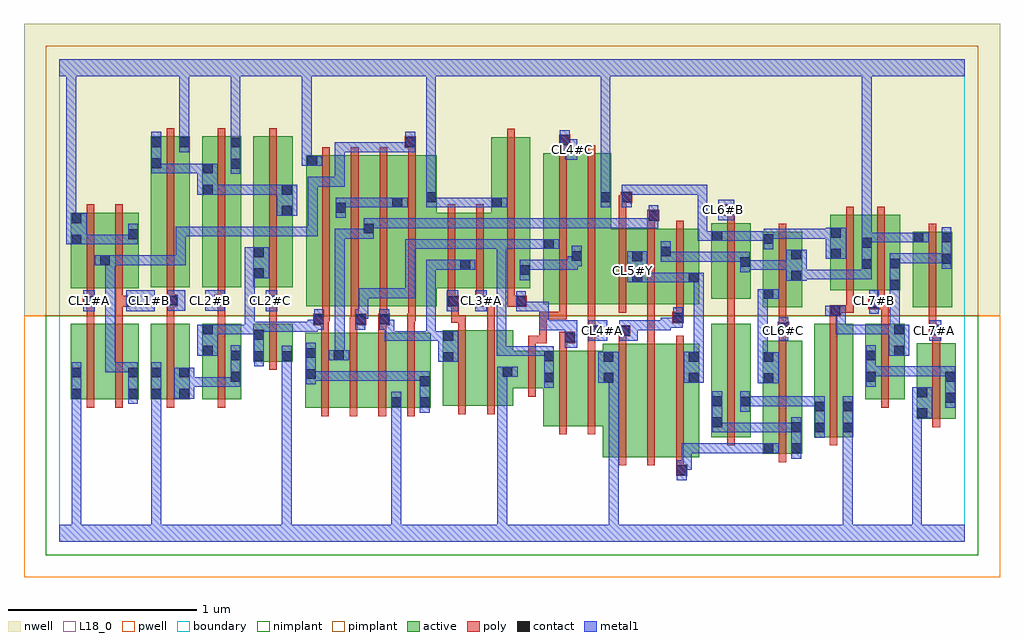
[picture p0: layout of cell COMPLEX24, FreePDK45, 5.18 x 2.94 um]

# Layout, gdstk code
import gdstk
lib = gdstk.Library(unit=1e-6, precision=1e-09)
def R(c, l, rs):  # rectangles x0, y0, x1, y1
    for r in rs: c.add(gdstk.rectangle(r[:2], r[2:], *l))
def A(c, l, x, y, w, h, nx, ny, dx, dy):  # array of equal rectangles
    R(c, l, [(x+i*dx, y+j*dy, x+i*dx+w, y+j*dy+h) for i in range(nx) for j in range(ny)])
active = (1, 0)
pwell = (2, 0)
nwell = (3, 0)
nimplant = (4, 0)
pimplant = (5, 0)
poly = (9, 0)
contact = (10, 0)
metal1 = (11, 0)
L18_0 = (18, 0)
boundary = (235, 0)

complex24 = lib.new_cell('COMPLEX24')
A(complex24, active, 0.484, 1.35, 0.208, 0.8, 3, 1, 0.272, 0)
R(complex24, active, [(2.882,0.45,3.062,1.05), (2.882,0.45,2.942,1.014), (3.062,0.45,3.214,1.05), (3.214,0.45,3.394,1.05), (3.73,0.466,3.79,1.066), (3.73,0.466,3.938,1.066), (3.878,0.466,3.938,1.066), (3.334,0.556,3.394,1.05), (3.458,0.556,3.518,1.156), (3.458,0.556,3.666,1.156), (3.606,0.556,3.666,1.156), (4.002,0.556,4.062,1.156), (4.002,0.556,4.21,1.156), (4.15,0.556,4.21,1.156), (2.566,0.614,2.626,1.014), (2.566,0.614,2.746,1.014), (2.746,0.614,2.942,1.014), (4.546,0.652,4.754,1.052), (4.546,0.652,4.606,0.824), (4.694,0.652,4.754,1.052), (1.304,0.71,1.364,1.11), (1.304,0.71,1.512,1.11), (1.452,0.71,1.636,1.11), (1.636,0.71,1.816,1.11), (1.756,0.71,1.968,1.11), (1.756,0.71,1.816,0.816), (1.908,0.71,1.968,1.11), (2.032,0.722,2.092,1.122), (2.032,0.722,2.212,1.122), (2.212,0.722,2.406,1.122), (0.06,0.756,0.12,1.156), (0.06,0.756,0.24,1.156), (0.24,0.756,0.42,1.156), (0.36,0.756,0.42,1.156), (0.484,0.756,0.544,1.156), (0.484,0.756,0.692,1.156), (0.632,0.756,0.692,1.156), (0.756,0.756,0.816,1.156), (0.756,0.756,0.964,1.156), (0.904,0.756,0.964,1.156), (1.452,0.756,1.512,1.02), (2.346,0.756,2.406,1.014), (4.274,0.756,4.334,1.156), (4.274,0.756,4.482,1.156), (4.422,0.756,4.482,1.156), (2.346,0.814,2.626,1.014), (1.028,0.956,1.088,1.156), (1.028,0.956,1.236,1.156), (1.176,0.956,1.236,1.156), (3.73,1.244,3.79,1.644), (3.73,1.244,3.938,1.644), (3.878,1.244,3.938,1.644), (4.526,1.244,4.586,1.644), (4.526,1.244,4.734,1.644), (4.674,1.244,4.734,1.644), (1.31,1.25,1.522,2.05), (1.31,1.25,1.37,2.05), (1.462,1.25,1.67,2.05), (1.61,1.25,1.822,2.05), (1.762,1.25,2,2.05), (2.566,1.26,2.626,2.044), (2.566,1.26,2.774,2.06), (2.714,1.26,2.926,2.06), (2.714,1.26,2.774,2.044), (2.866,1.26,3.094,1.66), (3.034,1.26,3.094,1.66), (3.034,1.26,3.246,1.66), (3.186,1.26,3.394,1.66), (3.186,1.26,3.246,1.644), (3.334,1.26,3.394,1.644), (3.458,1.29,3.666,1.69), (3.606,1.29,3.666,1.644), (4.088,1.334,4.148,1.734), (4.088,1.334,4.312,1.734), (4.252,1.334,4.46,1.734), (4.252,1.334,4.312,1.644), (4.4,1.334,4.46,1.644), (0.06,1.346,0.12,1.746), (0.06,1.346,0.272,1.746), (0.212,1.346,0.42,1.746), (0.36,1.346,0.42,1.746), (1.94,1.346,2.182,1.746), (2.122,1.346,2.35,1.746), (2.122,1.346,2.182,1.644), (2.29,1.346,2.498,2.146), (2.438,1.346,2.498,2.044), (0.484,1.35,0.544,2.15), (0.632,1.35,0.692,2.15), (0.756,1.35,0.816,2.044), (1.028,1.35,1.088,2.044), (1.176,1.35,1.236,2.044), (2.866,1.372,2.926,2.06), (3.458,1.452,3.518,1.69), (0.212,1.464,0.272,1.644), (1.94,1.472,2,1.858), (0.904,1.556,0.964,2.15), (2.29,1.556,2.35,1.83), (1.61,1.632,1.67,2.044), (1.462,1.686,1.522,2.044), (1.762,1.686,1.822,2.044)])
R(complex24, pwell, [(-0.188,-0.188,4.988,1.2)])
R(complex24, nwell, [(-0.188,1.2,4.988,2.748)])
R(complex24, nimplant, [(-0.072,-0.072,4.872,1.2)])
R(complex24, pimplant, [(-0.072,1.2,4.872,2.632)])
A(complex24, poly, 2.966, 0.406, 0.04, 0.688, 3, 1, 0.152, 0)
A(complex24, poly, 1.388, 0.666, 0.04, 0.488, 4, 1, 0.152, 0)
A(complex24, poly, 0.296, 0.712, 0.04, 0.488, 3, 1, 0.272, 0)
A(complex24, poly, 1.388, 1.114, 0.04, 0.076, 3, 1, 0.152, 0)
A(complex24, poly, 0.568, 1.16, 0.04, 0.13, 3, 1, 0.272, 0)
A(complex24, poly, 1.394, 1.17, 0.04, 0.076, 4, 1, 0.152, 0)
A(complex24, poly, 1.394, 1.206, 0.04, 0.888, 4, 1, 0.152, 0)
A(complex24, poly, 2.966, 1.216, 0.04, 0.488, 3, 1, 0.152, 0)
A(complex24, poly, 0.568, 1.27, 0.04, 0.076, 3, 1, 0.272, 0)
A(complex24, poly, 0.568, 1.306, 0.04, 0.888, 3, 1, 0.272, 0)
R(complex24, poly, [(3.27,0.35,3.33,0.41), (3.27,0.37,3.31,0.446), (3.814,0.422,3.854,1.11), (3.542,0.512,3.582,1.2), (4.086,0.512,4.126,1.2), (2.65,0.57,2.69,1.058), (2.802,0.57,2.842,1.058), (4.63,0.608,4.67,1.096), (2.116,0.678,2.156,1.166), (2.268,0.678,2.308,1.166), (0.144,0.712,0.184,1.2), (4.358,0.712,4.398,1.2), (2.486,0.77,2.526,1.058), (1.112,0.912,1.152,1.2), (2.486,1.018,2.526,1.094), (2.65,1.018,2.69,1.094), (2.802,1.018,2.842,1.13), (2.486,1.054,2.526,1.094), (2.486,1.054,2.584,1.094), (2.544,1.054,2.584,1.094), (2.544,1.054,2.584,1.22), (2.65,1.054,2.736,1.114), (2.966,1.054,3.006,1.13), (3.118,1.054,3.158,1.13), (4.63,1.056,4.67,1.132), (3.814,1.07,3.854,1.146), (2.802,1.09,2.862,1.15), (2.966,1.09,3.026,1.15), (3.118,1.09,3.158,1.13), (3.118,1.09,3.158,1.13), (3.118,1.09,3.158,1.13), (3.118,1.09,3.158,1.256), (4.61,1.092,4.67,1.152), (4.63,1.092,4.67,1.132), (4.63,1.092,4.67,1.132), (3.81,1.106,3.87,1.166), (2.802,1.11,2.842,1.15), (2.802,1.11,2.842,1.15), (2.802,1.11,2.842,1.256), (4.61,1.112,4.65,1.24), (1.844,1.114,1.884,1.21), (2.116,1.126,2.156,1.202), (2.268,1.126,2.308,1.286), (3.814,1.126,3.854,1.166), (3.814,1.126,3.854,1.166), (3.814,1.126,3.854,1.24), (1.346,1.15,1.428,1.21), (1.54,1.15,1.586,1.19), (1.546,1.15,1.586,1.19), (1.546,1.15,1.626,1.21), (1.692,1.15,1.752,1.21), (0.144,1.16,0.184,1.286), (0.296,1.16,0.336,1.286), (3.25,1.16,3.31,1.22), (3.542,1.16,3.582,1.236), (4.086,1.16,4.126,1.236), (4.358,1.16,4.398,1.274), (2.078,1.162,2.156,1.202), (2.078,1.162,2.118,1.286), (1.388,1.17,1.428,1.21), (1.388,1.17,1.434,1.21), (1.698,1.17,1.738,1.21), (1.698,1.17,1.738,1.21), (1.844,1.17,1.884,1.21), (1.844,1.17,1.884,1.21), (1.844,1.17,1.89,1.21), (2.544,1.18,2.584,1.22), (2.544,1.18,2.69,1.22), (2.65,1.18,2.69,1.22), (2.65,1.18,2.69,1.22), (2.65,1.18,2.69,1.22), (2.65,1.18,2.69,1.256), (3.27,1.18,3.31,1.256), (3.542,1.196,3.582,1.236), (3.542,1.196,3.582,1.236), (3.542,1.196,3.582,1.236), (3.542,1.196,3.582,1.286), (4.086,1.196,4.146,1.256), (3.814,1.2,3.854,1.688), (4.61,1.2,4.65,1.688), (2.65,1.216,2.69,2.104), (2.802,1.216,2.842,2.104), (4.106,1.216,4.146,1.256), (4.106,1.216,4.212,1.256), (4.172,1.216,4.212,1.33), (4.29,1.234,4.376,1.294), (4.336,1.234,4.376,1.274), (4.336,1.234,4.398,1.274), (0.124,1.246,0.184,1.306), (0.296,1.246,0.41,1.306), (2.058,1.246,2.118,1.306), (2.21,1.246,2.27,1.306), (2.23,1.246,2.27,1.286), (2.23,1.246,2.308,1.286), (2.374,1.246,2.478,1.306), (3.542,1.246,3.582,1.734), (0.568,1.25,0.628,1.31), (0.82,1.25,0.88,1.31), (0.84,1.25,0.88,1.29), (0.84,1.25,0.88,1.29), (1.092,1.25,1.152,1.31), (1.112,1.25,1.152,1.29), (1.112,1.25,1.152,1.29), (4.336,1.254,4.376,1.33), (0.144,1.266,0.184,1.306), (0.144,1.266,0.184,1.306), (0.144,1.266,0.184,1.342), (0.296,1.266,0.336,1.306), (0.296,1.266,0.336,1.306), (0.296,1.266,0.336,1.342), (2.058,1.266,2.098,1.342), (2.21,1.266,2.25,1.342), (2.374,1.266,2.414,1.342), (0.568,1.27,0.608,1.31), (0.568,1.27,0.608,1.31), (4.172,1.29,4.212,1.778), (4.336,1.29,4.376,1.778), (0.144,1.302,0.184,1.79), (0.296,1.302,0.336,1.79), (2.058,1.302,2.098,1.79), (2.21,1.302,2.25,1.79), (2.374,1.302,2.414,2.19), (2.966,1.664,3.006,1.838), (3.118,1.664,3.158,1.74), (3.542,1.694,3.582,1.77), (3.118,1.7,3.18,1.76), (3.522,1.73,3.582,1.79), (2.966,1.798,3.018,1.838), (2.978,1.798,3.018,1.838), (2.978,1.798,3.038,1.858), (1.85,2.054,1.89,2.13), (2.65,2.064,2.69,2.14), (1.83,2.09,1.89,2.15), (2.65,2.1,2.71,2.16)])
R(complex24, contact, [(3.274,0.354,3.326,0.406), (3.734,0.47,3.786,0.522), (3.882,0.47,3.934,0.522), (4.006,0.58,4.058,0.632), (4.154,0.58,4.206,0.632), (3.882,0.582,3.934,0.634), (3.462,0.608,3.514,0.66), (4.55,0.656,4.602,0.708), (4.006,0.692,4.058,0.744), (4.154,0.692,4.206,0.744), (1.912,0.714,1.964,0.766), (1.76,0.716,1.812,0.768), (3.61,0.718,3.662,0.77), (3.462,0.72,3.514,0.772), (4.698,0.738,4.75,0.79), (0.064,0.76,0.116,0.812), (0.364,0.76,0.416,0.812), (0.488,0.76,0.54,0.812), (0.636,0.76,0.688,0.812), (4.55,0.768,4.602,0.82), (1.912,0.826,1.964,0.878), (3.734,0.842,3.786,0.894), (2.886,0.844,2.938,0.896), (3.338,0.844,3.39,0.896), (2.57,0.846,2.622,0.898), (0.908,0.85,0.96,0.902), (4.278,0.85,4.33,0.902), (4.698,0.85,4.75,0.902), (1.308,0.864,1.36,0.916), (0.064,0.872,0.116,0.924), (0.364,0.872,0.416,0.924), (0.488,0.872,0.54,0.924), (0.636,0.872,0.688,0.924), (2.35,0.876,2.402,0.928), (2.036,0.954,2.088,1.006), (3.734,0.954,3.786,1.006), (2.886,0.956,2.938,1.008), (3.338,0.956,3.39,1.008), (2.57,0.958,2.622,1.01), (1.032,0.96,1.084,1.012), (1.18,0.96,1.232,1.012), (0.908,0.962,0.96,1.014), (4.278,0.962,4.33,1.014), (1.456,0.964,1.508,1.016), (1.308,0.976,1.36,1.028), (0.76,0.988,0.812,1.04), (4.426,0.988,4.478,1.04), (2.68,1.058,2.732,1.11), (2.036,1.066,2.088,1.118), (1.032,1.072,1.084,1.124), (2.806,1.094,2.858,1.146), (2.97,1.094,3.022,1.146), (4.614,1.096,4.666,1.148), (0.76,1.1,0.812,1.152), (4.426,1.1,4.478,1.152), (3.814,1.11,3.866,1.162), (1.35,1.154,1.402,1.206), (1.57,1.154,1.622,1.206), (1.696,1.154,1.748,1.206), (3.254,1.164,3.306,1.216), (4.09,1.2,4.142,1.252), (4.294,1.238,4.346,1.29), (0.128,1.25,0.18,1.302), (0.354,1.25,0.406,1.302), (2.062,1.25,2.114,1.302), (2.214,1.25,2.266,1.302), (2.422,1.25,2.474,1.302), (0.572,1.254,0.624,1.306), (0.824,1.254,0.876,1.306), (1.096,1.254,1.148,1.306), (3.734,1.288,3.786,1.34), (4.404,1.338,4.456,1.39), (3.038,1.376,3.09,1.428), (3.338,1.376,3.39,1.428), (3.882,1.386,3.934,1.438), (1.032,1.398,1.084,1.45), (2.442,1.416,2.494,1.468), (2.126,1.444,2.178,1.496), (4.256,1.448,4.308,1.5), (4.404,1.45,4.456,1.502), (3.61,1.458,3.662,1.51), (0.216,1.468,0.268,1.52), (4.678,1.476,4.73,1.528), (3.038,1.488,3.09,1.54), (2.718,1.49,2.77,1.542), (3.882,1.498,3.934,1.55), (4.092,1.502,4.144,1.554), (1.032,1.51,1.084,1.562), (3.19,1.514,3.242,1.566), (2.57,1.554,2.622,1.606), (4.256,1.56,4.308,1.612), (0.064,1.578,0.116,1.63), (3.734,1.58,3.786,1.632), (4.53,1.588,4.582,1.64), (4.678,1.588,4.73,1.64), (3.462,1.596,3.514,1.648), (0.364,1.606,0.416,1.658), (4.092,1.614,4.144,1.666), (1.614,1.636,1.666,1.688), (0.064,1.69,0.116,1.742), (3.124,1.704,3.176,1.756), (1.18,1.73,1.232,1.782), (3.526,1.734,3.578,1.786), (1.466,1.746,1.518,1.798), (1.766,1.774,1.818,1.826), (2.294,1.774,2.346,1.826), (1.944,1.802,1.996,1.854), (2.87,1.802,2.922,1.854), (2.982,1.802,3.034,1.854), (0.76,1.842,0.812,1.894), (1.18,1.842,1.232,1.894), (0.76,1.954,0.812,2.006), (0.908,1.98,0.96,2.032), (0.488,1.982,0.54,2.034), (1.314,1.994,1.366,2.046), (0.908,2.092,0.96,2.144), (0.488,2.094,0.54,2.146), (0.636,2.094,0.688,2.146), (1.834,2.094,1.886,2.146), (2.654,2.104,2.706,2.156)])
A(complex24, metal1, 1.834, 1.554, 0.052, 0.052, 3, 2, 0.11, 0.11)
A(complex24, metal1, 1.834, 1.554, 0.162, 0.052, 3, 1, 0.11, 0)
A(complex24, metal1, 1.614, 1.664, 0.162, 0.052, 4, 1, 0.11, 0)
R(complex24, metal1, [(0,0,4.8,0.092), (0.064,0.04,0.116,0.092), (0.064,0.04,0.116,0.092), (0.064,0.04,0.116,0.092), (0.064,0.04,0.116,0.092), (0.064,0.04,0.116,0.092), (0.064,0.04,0.116,0.092), (0.064,0.04,0.116,0.092), (0.064,0.04,0.116,0.092), (0.064,0.04,0.116,0.092), (0.064,0.04,0.116,0.092), (0.064,0.04,0.116,0.092), (0.064,0.04,0.116,0.092), (0.064,0.04,0.116,0.784), (0.488,0.04,0.54,0.092), (0.488,0.04,0.54,0.092), (0.488,0.04,0.54,0.092), (0.488,0.04,0.54,0.092), (0.488,0.04,0.54,0.092), (0.488,0.04,0.54,0.092), (0.488,0.04,0.54,0.092), (0.488,0.04,0.54,0.092), (0.488,0.04,0.54,0.092), (0.488,0.04,0.54,0.092), (0.488,0.04,0.54,0.784), (1.18,0.04,1.232,0.092), (1.18,0.04,1.232,0.092), (1.18,0.04,1.232,0.092), (1.18,0.04,1.232,0.092), (1.18,0.04,1.232,0.092), (1.18,0.04,1.232,0.092), (1.18,0.04,1.232,0.092), (1.18,0.04,1.232,0.092), (1.18,0.04,1.232,0.092), (1.18,0.04,1.232,0.092), (1.18,0.04,1.232,0.092), (1.18,0.04,1.232,0.092), (1.18,0.04,1.232,0.092), (1.18,0.04,1.232,0.092), (1.18,0.04,1.232,0.092), (1.18,0.04,1.232,0.092), (1.18,0.04,1.232,0.984), (1.76,0.04,1.812,0.092), (1.76,0.04,1.812,0.092), (1.76,0.04,1.812,0.092), (1.76,0.04,1.812,0.092), (1.76,0.04,1.812,0.092), (1.76,0.04,1.812,0.092), (1.76,0.04,1.812,0.092), (1.76,0.04,1.812,0.092), (1.76,0.04,1.812,0.092), (1.76,0.04,1.812,0.092), (1.76,0.04,1.812,0.092), (1.76,0.04,1.812,0.092), (1.76,0.04,1.812,0.74), (2.322,0.04,2.374,0.092), (2.322,0.04,2.374,0.092), (2.322,0.04,2.374,0.092), (2.322,0.04,2.374,0.092), (2.322,0.04,2.374,0.928), (2.914,0.04,2.966,0.092), (2.914,0.04,2.966,0.092), (2.914,0.04,2.966,0.896), (4.154,0.04,4.206,0.092), (4.154,0.04,4.206,0.092), (4.154,0.04,4.206,0.092), (4.154,0.04,4.206,0.092), (4.154,0.04,4.206,0.092), (4.154,0.04,4.206,0.092), (4.154,0.04,4.206,0.092), (4.154,0.04,4.206,0.092), (4.154,0.04,4.206,0.604), (4.522,0.04,4.574,0.092), (4.522,0.04,4.574,0.092), (4.522,0.04,4.574,0.092), (4.522,0.04,4.574,0.092), (4.522,0.04,4.574,0.092), (4.522,0.04,4.574,0.092), (4.522,0.04,4.574,0.092), (4.522,0.04,4.574,0.092), (4.522,0.04,4.574,0.092), (4.522,0.04,4.574,0.092), (4.522,0.04,4.574,0.092), (4.522,0.04,4.574,0.092), (4.522,0.04,4.574,0.708), (3.274,0.326,3.326,0.434), (3.274,0.382,3.352,0.434), (3.3,0.382,3.352,0.434), (3.3,0.382,3.352,0.522), (3.882,0.442,3.934,0.662), (3.3,0.47,3.352,0.522), (3.3,0.47,3.542,0.522), (3.49,0.47,3.542,0.522), (3.49,0.47,3.542,0.522), (3.49,0.47,3.542,0.522), (3.49,0.47,3.652,0.522), (3.6,0.47,3.652,0.522), (3.6,0.47,3.758,0.522), (3.706,0.47,3.814,0.522), (4.006,0.552,4.058,0.772), (4.154,0.552,4.206,0.772), (3.462,0.58,3.514,0.632), (3.462,0.58,3.514,0.632), (3.462,0.58,3.514,0.8), (3.462,0.58,3.652,0.632), (3.6,0.58,3.652,0.632), (3.6,0.58,3.652,0.632), (3.6,0.58,3.652,0.632), (3.6,0.58,3.934,0.632), (3.882,0.58,3.934,0.632), (3.882,0.58,3.934,0.632), (4.522,0.656,4.63,0.82), (1.912,0.686,1.964,0.906), (1.76,0.688,1.812,0.796), (3.61,0.69,3.662,0.798), (4.698,0.71,4.75,0.93), (3.61,0.72,3.662,0.772), (3.61,0.72,3.662,0.772), (3.61,0.72,3.896,0.772), (3.844,0.72,3.896,0.772), (3.844,0.72,3.896,0.772), (3.844,0.72,3.896,0.772), (3.844,0.72,4.058,0.772), (0.064,0.732,0.116,0.952), (0.364,0.732,0.416,0.952), (0.488,0.732,0.54,0.784), (0.488,0.732,0.54,0.784), (0.488,0.732,0.54,0.952), (0.608,0.76,0.716,0.924), (2.57,0.818,2.622,1.038), (0.664,0.822,0.716,0.874), (0.664,0.822,0.716,0.874), (0.664,0.822,0.926,0.874), (0.874,0.822,0.926,0.874), (0.874,0.822,0.96,0.874), (0.908,0.822,0.96,1.042), (4.278,0.822,4.33,1.042), (1.308,0.836,1.36,1.056), (3.704,0.842,3.814,1.006), (2.858,0.844,2.966,1.008), (2.914,0.844,2.966,0.896), (2.914,0.844,2.966,0.896), (2.914,0.844,2.966,0.896), (2.914,0.844,2.966,0.896), (2.914,0.844,2.966,0.896), (2.914,0.844,2.966,0.896), (3.31,0.844,3.418,1.008), (1.308,0.854,1.37,0.906), (1.318,0.854,1.37,0.906), (1.318,0.854,1.528,0.906), (1.476,0.854,1.528,0.906), (1.476,0.854,1.528,0.906), (1.476,0.854,1.528,0.906), (1.476,0.854,1.666,0.906), (1.614,0.854,1.666,0.906), (1.614,0.854,1.776,0.906), (1.724,0.854,1.776,0.906), (1.724,0.854,1.776,0.906), (1.724,0.854,1.776,0.906), (1.724,0.854,1.886,0.906), (1.834,0.854,1.886,0.906), (1.834,0.854,1.964,0.906), (2.322,0.876,2.374,0.928), (2.322,0.876,2.374,0.928), (2.322,0.876,2.374,0.928), (2.322,0.876,2.374,0.928), (2.322,0.876,2.374,0.928), (2.322,0.876,2.374,0.928), (2.322,0.876,2.374,0.928), (2.322,0.876,2.374,0.928), (2.322,0.876,2.43,0.928), (4.278,0.878,4.33,0.93), (4.278,0.878,4.33,0.93), (4.278,0.878,4.556,0.93), (4.504,0.878,4.556,0.93), (4.504,0.878,4.556,0.93), (4.504,0.878,4.556,0.93), (4.504,0.878,4.75,0.93), (4.698,0.878,4.75,0.93), (4.698,0.878,4.75,0.93), (0.244,0.9,0.296,0.952), (0.244,0.9,0.296,0.952), (0.244,0.9,0.296,0.952), (0.244,0.9,0.416,0.952), (0.244,0.9,0.296,1.52), (1.032,0.932,1.084,1.152), (1.18,0.932,1.232,1.04), (2.008,0.954,2.116,1.118), (3.704,0.954,3.756,1.006), (3.704,0.954,3.756,1.006), (3.704,0.954,3.756,1.34), (3.364,0.956,3.416,1.008), (3.364,0.956,3.416,1.008), (3.364,0.956,3.416,1.008), (3.364,0.956,3.416,1.008), (3.364,0.956,3.416,1.428), (1.428,0.964,1.536,1.016), (1.46,0.964,1.512,1.016), (1.46,0.964,1.512,1.016), (1.46,0.964,1.512,1.66), (2.318,0.986,2.37,1.038), (2.318,0.986,2.37,1.038), (2.318,0.986,2.37,1.038), (2.318,0.986,2.474,1.038), (2.318,0.986,2.37,1.606), (2.422,0.986,2.474,1.038), (2.422,0.986,2.622,1.038), (0.732,0.988,0.84,1.152), (4.398,0.988,4.506,1.152), (2.68,1.03,2.746,1.174), (1.724,1.066,1.776,1.118), (1.724,1.066,1.886,1.118), (1.724,1.066,1.776,1.178), (1.834,1.066,1.886,1.118), (1.834,1.066,1.886,1.118), (1.834,1.066,1.886,1.118), (1.834,1.066,2.06,1.118), (1.944,1.066,2.06,1.118), (1.944,1.066,1.996,1.496), (2.008,1.066,2.06,1.118), (2.806,1.066,2.906,1.174), (2.97,1.066,3.066,1.174), (3.814,1.066,3.866,1.19), (4.614,1.066,4.676,1.176), (0.788,1.1,0.84,1.152), (0.788,1.1,0.84,1.152), (0.788,1.1,0.984,1.152), (0.932,1.1,0.984,1.152), (0.932,1.1,1.084,1.152), (1.032,1.1,1.084,1.152), (1.032,1.1,1.084,1.152), (1.032,1.1,1.084,1.166), (4.118,1.1,4.17,1.152), (4.118,1.1,4.34,1.152), (4.118,1.1,4.17,1.252), (4.288,1.1,4.34,1.152), (4.288,1.1,4.34,1.152), (4.288,1.1,4.34,1.152), (4.288,1.1,4.45,1.152), (4.404,1.1,4.456,1.362), (0.984,1.114,1.036,1.45), (0.984,1.114,1.084,1.166), (1.032,1.114,1.194,1.166), (1.142,1.114,1.194,1.166), (1.142,1.114,1.194,1.166), (1.142,1.114,1.194,1.166), (1.142,1.114,1.37,1.166), (1.318,1.114,1.37,1.178), (2.544,1.122,2.596,1.174), (2.544,1.122,2.596,1.274), (2.544,1.122,2.732,1.174), (3.014,1.122,3.066,1.174), (3.014,1.122,3.066,1.174), (3.014,1.122,3.176,1.174), (3.124,1.122,3.176,1.174), (3.124,1.122,3.242,1.174), (3.19,1.122,3.242,1.174), (3.19,1.122,3.242,1.188), (1.318,1.126,1.402,1.178), (1.35,1.126,1.402,1.234), (1.57,1.126,1.622,1.234), (1.696,1.126,1.748,1.234), (1.696,1.126,1.776,1.178), (1.724,1.126,1.776,1.178), (3.19,1.136,3.242,1.188), (3.19,1.136,3.306,1.188), (3.254,1.136,3.306,1.244), (1.57,1.182,1.638,1.234), (1.586,1.182,1.638,1.344), (4.062,1.2,4.17,1.252), (4.118,1.2,4.17,1.252), (4.118,1.2,4.17,1.252), (4.294,1.21,4.346,1.334), (0.126,1.222,0.186,1.334), (0.354,1.222,0.506,1.334), (2.054,1.222,2.114,1.334), (2.206,1.222,2.266,1.334), (2.422,1.222,2.474,1.33), (2.422,1.222,2.596,1.274), (2.544,1.222,2.596,1.274), (2.544,1.222,2.596,1.274), (2.544,1.222,2.596,1.274), (1.094,1.224,1.156,1.334), (0.572,1.226,0.666,1.334), (0.774,1.226,0.876,1.334), (3.704,1.288,3.758,1.34), (3.706,1.288,3.758,1.34), (3.706,1.288,3.814,1.34), (1.586,1.292,1.776,1.344), (1.724,1.292,1.776,1.344), (1.724,1.292,1.776,1.344), (1.724,1.292,1.776,1.344), (1.724,1.292,1.886,1.344), (1.834,1.292,1.886,1.344), (1.834,1.292,1.886,1.344), (1.834,1.292,1.886,1.344), (1.834,1.292,1.886,1.606), (4.404,1.31,4.456,1.362), (4.404,1.31,4.456,1.362), (4.404,1.31,4.456,1.362), (4.404,1.31,4.456,1.362), (4.404,1.31,4.456,1.53), (3.01,1.376,3.118,1.54), (3.066,1.376,3.176,1.428), (3.124,1.376,3.176,1.428), (3.124,1.376,3.228,1.428), (3.176,1.376,3.228,1.428), (3.176,1.376,3.286,1.428), (3.234,1.376,3.286,1.428), (3.234,1.376,3.362,1.428), (3.31,1.376,3.418,1.428), (3.364,1.376,3.416,1.428), (3.364,1.376,3.416,1.428), (3.854,1.386,3.962,1.55), (2.442,1.388,2.494,1.496), (3.91,1.392,4.044,1.444), (3.992,1.392,4.044,1.444), (3.992,1.392,4.154,1.444), (4.102,1.392,4.154,1.444), (4.102,1.392,4.154,1.444), (4.102,1.392,4.154,1.444), (4.102,1.392,4.308,1.444), (4.256,1.392,4.308,1.444), (4.256,1.392,4.308,1.472), (0.984,1.398,1.036,1.45), (0.984,1.398,1.036,1.45), (0.984,1.398,1.112,1.562), (4.256,1.42,4.308,1.64), (3.61,1.43,3.662,1.538), (3.61,1.442,3.662,1.494), (3.61,1.442,3.662,1.494), (3.61,1.442,3.906,1.494), (3.854,1.442,3.906,1.494), (3.854,1.442,3.906,1.494), (1.944,1.444,1.996,1.496), (1.944,1.444,1.996,1.496), (1.944,1.444,1.996,1.496), (1.944,1.444,2.106,1.496), (2.054,1.444,2.106,1.496), (2.054,1.444,2.15,1.496), (2.098,1.444,2.206,1.496), (2.442,1.444,2.594,1.496), (2.542,1.444,2.594,1.496), (2.542,1.444,2.748,1.496), (2.696,1.444,2.748,1.514), (4.678,1.448,4.73,1.668), (2.696,1.462,2.77,1.514), (2.718,1.462,2.77,1.57), (0.188,1.468,0.296,1.52), (0.244,1.468,0.296,1.52), (0.244,1.468,0.296,1.52), (0.244,1.468,0.296,1.52), (0.244,1.468,0.296,1.52), (0.244,1.468,0.43,1.52), (0.378,1.468,0.43,1.52), (0.378,1.468,0.43,1.52), (0.378,1.468,0.43,1.52), (0.378,1.468,0.43,1.52), (0.378,1.468,0.43,1.52), (0.378,1.468,0.55,1.52), (0.498,1.468,0.55,1.52), (0.498,1.468,0.55,1.52), (0.498,1.468,0.55,1.52), (0.498,1.468,0.67,1.52), (0.618,1.468,0.67,1.52), (0.618,1.468,0.67,1.52), (0.618,1.468,0.67,1.52), (0.618,1.468,0.67,1.672), (4.404,1.478,4.456,1.53), (4.404,1.478,4.456,1.53), (4.404,1.478,4.73,1.53), (4.678,1.478,4.73,1.53), (4.678,1.478,4.73,1.53), (3.19,1.486,3.242,1.594), (3.19,1.486,3.286,1.538), (3.234,1.486,3.286,1.538), (3.234,1.486,3.404,1.538), (3.352,1.486,3.404,1.538), (3.352,1.486,3.516,1.538), (3.464,1.486,3.516,1.538), (3.464,1.486,3.516,1.538), (3.464,1.486,3.516,1.538), (3.464,1.486,3.662,1.538), (4.064,1.502,4.172,1.666), (3.734,1.552,3.786,1.66), (1.834,1.554,1.886,1.606), (1.834,1.554,1.886,1.606), (2.054,1.554,2.106,1.606), (2.054,1.554,2.106,1.606), (2.164,1.554,2.216,1.606), (2.164,1.554,2.37,1.606), (2.318,1.554,2.37,1.606), (2.318,1.554,2.37,1.606), (2.318,1.554,2.37,1.606), (2.318,1.554,2.37,1.606), (2.318,1.554,2.37,1.606), (2.318,1.554,2.428,1.606), (2.376,1.554,2.428,1.606), (2.376,1.554,2.594,1.606), (2.542,1.554,2.594,1.606), (2.542,1.554,2.594,1.606), (2.542,1.554,2.65,1.606), (0.036,1.578,0.144,1.742), (0.078,1.578,0.13,1.63), (0.078,1.578,0.13,1.63), (0.078,1.578,0.13,1.63), (0.078,1.578,0.13,1.63), (0.078,1.578,0.306,1.63), (0.254,1.578,0.306,1.63), (0.254,1.578,0.416,1.63), (0.364,1.578,0.416,1.63), (0.364,1.578,0.416,1.63), (0.364,1.578,0.416,1.686), (4.256,1.588,4.308,1.64), (4.256,1.588,4.308,1.64), (4.256,1.588,4.308,1.64), (4.256,1.588,4.308,1.64), (4.256,1.588,4.308,1.64), (4.256,1.588,4.308,1.64), (4.256,1.588,4.308,1.64), (4.256,1.588,4.308,1.64), (4.256,1.588,4.308,1.64), (4.256,1.588,4.308,1.64), (4.256,1.588,4.308,1.64), (4.256,1.588,4.308,1.64), (4.256,1.588,4.308,1.64), (4.256,1.588,4.308,1.64), (4.256,1.588,4.308,1.64), (4.256,1.588,4.308,1.64), (4.256,1.588,4.308,1.64), (4.256,1.588,4.308,1.64), (4.256,1.588,4.554,1.64), (4.256,1.588,4.308,2.52), (4.502,1.588,4.554,1.64), (4.502,1.588,4.554,1.64), (4.502,1.588,4.61,1.64), (3.384,1.596,3.436,1.648), (3.384,1.596,3.436,1.648), (3.384,1.596,3.542,1.648), (3.384,1.596,3.436,1.894), (3.49,1.596,3.542,1.648), (3.49,1.596,3.542,1.648), (3.49,1.596,3.658,1.648), (3.606,1.596,3.658,1.648), (3.606,1.596,3.786,1.648), (1.46,1.608,1.512,1.66), (1.46,1.608,1.512,1.66), (1.46,1.608,1.512,1.66), (1.46,1.608,1.512,1.66), (1.46,1.608,1.512,1.66), (1.46,1.608,1.666,1.66), (1.614,1.608,1.666,1.716), (3.734,1.608,3.786,1.66), (3.734,1.608,3.786,1.66), (3.734,1.608,3.896,1.66), (3.844,1.608,3.896,1.66), (3.844,1.608,4.116,1.66), (0.618,1.62,0.67,1.672), (0.618,1.62,0.67,1.672), (0.618,1.62,0.67,1.672), (0.618,1.62,0.67,1.672), (0.618,1.62,0.67,1.672), (0.618,1.62,0.826,1.672), (0.774,1.62,0.826,1.672), (0.774,1.62,1.036,1.672), (0.984,1.62,1.036,1.672), (0.984,1.62,1.036,1.672), (0.984,1.62,1.036,1.672), (0.984,1.62,1.228,1.672), (1.176,1.62,1.228,1.672), (1.176,1.62,1.228,1.672), (1.176,1.62,1.228,1.672), (1.176,1.62,1.37,1.672), (1.318,1.62,1.37,1.672), (1.318,1.62,1.37,1.936), (1.614,1.664,1.666,1.716), (1.614,1.664,1.666,1.716), (1.614,1.664,1.666,1.716), (1.614,1.664,1.666,1.716), (1.614,1.664,1.666,1.716), (1.614,1.664,1.666,1.716), (1.724,1.664,1.776,1.716), (1.724,1.664,1.776,1.716), (1.724,1.664,1.776,1.716), (1.834,1.664,1.886,1.716), (1.834,1.664,1.886,1.716), (2.054,1.664,2.106,1.716), (2.054,1.664,2.106,1.716), (2.054,1.664,2.106,1.716), (2.054,1.664,2.106,1.716), (2.054,1.664,2.318,1.716), (2.266,1.664,2.318,1.716), (2.266,1.664,2.318,1.716), (2.266,1.664,2.318,1.716), (2.266,1.664,2.474,1.716), (2.422,1.664,2.474,1.716), (2.422,1.664,2.596,1.716), (2.544,1.664,2.596,1.716), (2.544,1.664,2.596,1.716), (2.544,1.664,2.596,1.716), (2.544,1.664,2.748,1.716), (2.696,1.664,2.748,1.716), (2.696,1.664,2.748,1.716), (2.696,1.664,2.748,1.716), (2.696,1.664,2.912,1.716), (2.86,1.664,2.912,1.716), (2.86,1.664,2.912,1.716), (2.86,1.664,2.912,1.716), (2.86,1.664,3.032,1.716), (2.98,1.664,3.032,1.716), (2.98,1.664,3.032,1.716), (2.98,1.664,3.032,1.716), (2.98,1.664,3.176,1.716), (3.124,1.664,3.176,1.784), (0.036,1.69,0.088,1.742), (0.036,1.69,0.088,1.742), (0.036,1.69,0.088,1.742), (0.036,1.69,0.088,1.742), (0.036,1.69,0.088,1.742), (0.036,1.69,0.088,1.742), (0.036,1.69,0.088,1.742), (0.036,1.69,0.088,1.742), (0.036,1.69,0.088,1.742), (0.036,1.69,0.088,1.742), (0.036,1.69,0.088,1.742), (0.036,1.69,0.088,1.742), (0.036,1.69,0.088,1.742), (0.036,1.69,0.088,1.742), (0.036,1.69,0.088,2.52), (3.494,1.706,3.578,1.814), (1.466,1.718,1.518,1.826), (1.152,1.73,1.26,1.894), (1.466,1.774,1.638,1.826), (1.586,1.774,1.638,1.826), (1.586,1.774,1.638,1.826), (1.586,1.774,1.638,1.826), (1.586,1.774,1.776,1.826), (1.724,1.774,1.776,1.826), (1.724,1.774,1.79,1.826), (1.738,1.774,1.846,1.826), (1.944,1.774,1.996,1.826), (1.944,1.774,1.996,1.826), (1.944,1.774,1.996,1.826), (1.944,1.774,1.996,1.826), (1.944,1.774,1.996,1.826), (1.944,1.774,1.996,1.826), (1.944,1.774,1.996,1.826), (1.944,1.774,1.996,1.826), (1.944,1.774,1.996,1.826), (1.944,1.774,1.996,1.826), (1.944,1.774,2.106,1.826), (1.944,1.774,1.996,1.882), (1.944,1.774,1.996,2.52), (2.054,1.774,2.106,1.826), (2.054,1.774,2.106,1.826), (2.054,1.774,2.106,1.826), (2.054,1.774,2.318,1.826), (2.266,1.774,2.318,1.826), (2.266,1.774,2.318,1.826), (2.266,1.774,2.374,1.826), (2.87,1.774,2.922,1.882), (2.982,1.774,3.034,1.882), (2.87,1.83,2.922,2.52), (2.982,1.83,3.034,1.882), (2.982,1.83,3.034,1.894), (0.732,1.842,0.84,2.006), (0.788,1.842,0.84,1.894), (0.788,1.842,0.84,1.894), (0.788,1.842,1.036,1.894), (0.984,1.842,1.036,1.894), (0.984,1.842,1.036,1.894), (0.984,1.842,1.036,1.894), (0.984,1.842,1.204,1.894), (1.152,1.842,1.204,1.894), (1.152,1.842,1.204,1.894), (2.982,1.842,3.176,1.894), (3.124,1.842,3.176,1.894), (3.124,1.842,3.242,1.894), (3.19,1.842,3.242,1.894), (3.19,1.842,3.306,1.894), (3.254,1.842,3.306,1.894), (3.254,1.842,3.352,1.894), (3.3,1.842,3.352,1.894), (3.3,1.842,3.436,1.894), (3.384,1.842,3.436,1.894), (1.318,1.884,1.37,1.936), (1.318,1.884,1.37,1.936), (1.318,1.884,1.37,1.936), (1.318,1.884,1.37,1.936), (1.318,1.884,1.37,1.936), (1.318,1.884,1.512,1.936), (1.46,1.884,1.512,1.936), (1.46,1.884,1.512,1.936), (1.46,1.884,1.512,1.936), (1.46,1.884,1.512,2.118), (0.908,1.952,0.96,2.172), (0.488,1.954,0.54,2.006), (0.488,1.954,0.54,2.006), (0.488,1.954,0.54,2.174), (0.488,1.954,0.716,2.006), (0.664,1.954,0.716,2.006), (0.664,1.954,0.784,2.006), (1.286,1.994,1.394,2.046), (1.286,1.994,1.338,2.52), (2.682,2.026,2.746,2.134), (0.636,2.066,0.688,2.174), (1.46,2.066,1.512,2.118), (1.46,2.066,1.512,2.118), (1.46,2.066,1.512,2.118), (1.46,2.066,1.666,2.118), (1.614,2.066,1.666,2.118), (1.614,2.066,1.776,2.118), (1.724,2.066,1.776,2.118), (1.724,2.066,1.776,2.118), (1.724,2.066,1.776,2.118), (1.724,2.066,1.886,2.118), (1.834,2.066,1.886,2.174), (2.654,2.076,2.706,2.184), (2.654,2.076,2.734,2.128), (0.908,2.12,0.96,2.172), (0.908,2.12,0.96,2.172), (0.908,2.12,0.96,2.52), (0.636,2.122,0.688,2.52), (0,2.468,4.8,2.56), (0.036,2.468,0.088,2.52), (0.036,2.468,0.088,2.52), (0.636,2.468,0.688,2.52), (0.636,2.468,0.688,2.52), (0.636,2.468,0.688,2.52), (0.636,2.468,0.688,2.52), (0.636,2.468,0.688,2.52), (0.636,2.468,0.688,2.52), (0.636,2.468,0.688,2.52), (0.636,2.468,0.688,2.52), (0.908,2.468,0.96,2.52), (0.908,2.468,0.96,2.52), (0.908,2.468,0.96,2.52), (0.908,2.468,0.96,2.52), (0.908,2.468,0.96,2.52), (0.908,2.468,0.96,2.52), (1.286,2.468,1.338,2.52), (1.286,2.468,1.338,2.52), (1.286,2.468,1.338,2.52), (1.286,2.468,1.338,2.52), (1.286,2.468,1.338,2.52), (1.286,2.468,1.338,2.52), (1.286,2.468,1.338,2.52), (1.286,2.468,1.338,2.52), (2.87,2.468,2.922,2.52), (2.87,2.468,2.922,2.52), (2.87,2.468,2.922,2.52), (2.87,2.468,2.922,2.52), (2.87,2.468,2.922,2.52), (2.87,2.468,2.922,2.52), (2.87,2.468,2.922,2.52), (2.87,2.468,2.922,2.52)])
A(complex24, L18_0, 2.694, 1.094, 0.052, 0.052, 3, 1, 0.16, 0)
A(complex24, L18_0, 0.454, 1.254, 0.052, 0.052, 3, 1, 0.16, 0)
R(complex24, L18_0, [(0,0,4.8,0.092), (0.064,0.04,0.116,0.092), (0.064,0.04,0.116,0.092), (0.064,0.04,0.116,0.092), (0.064,0.04,0.116,0.092), (0.064,0.04,0.116,0.092), (0.064,0.04,0.116,0.092), (0.064,0.04,0.116,0.092), (0.064,0.04,0.116,0.092), (0.064,0.04,0.116,0.092), (0.064,0.04,0.116,0.092), (0.064,0.04,0.116,0.092), (0.064,0.04,0.116,0.092), (0.064,0.04,0.116,0.784), (0.488,0.04,0.54,0.092), (0.488,0.04,0.54,0.092), (0.488,0.04,0.54,0.092), (0.488,0.04,0.54,0.092), (0.488,0.04,0.54,0.092), (0.488,0.04,0.54,0.092), (0.488,0.04,0.54,0.092), (0.488,0.04,0.54,0.092), (0.488,0.04,0.54,0.092), (0.488,0.04,0.54,0.092), (0.488,0.04,0.54,0.784), (1.18,0.04,1.232,0.092), (1.18,0.04,1.232,0.092), (1.18,0.04,1.232,0.092), (1.18,0.04,1.232,0.092), (1.18,0.04,1.232,0.092), (1.18,0.04,1.232,0.092), (1.18,0.04,1.232,0.092), (1.18,0.04,1.232,0.092), (1.18,0.04,1.232,0.092), (1.18,0.04,1.232,0.092), (1.18,0.04,1.232,0.092), (1.18,0.04,1.232,0.092), (1.18,0.04,1.232,0.092), (1.18,0.04,1.232,0.092), (1.18,0.04,1.232,0.092), (1.18,0.04,1.232,0.092), (1.18,0.04,1.232,0.984), (1.76,0.04,1.812,0.092), (1.76,0.04,1.812,0.092), (1.76,0.04,1.812,0.092), (1.76,0.04,1.812,0.092), (1.76,0.04,1.812,0.092), (1.76,0.04,1.812,0.092), (1.76,0.04,1.812,0.092), (1.76,0.04,1.812,0.092), (1.76,0.04,1.812,0.092), (1.76,0.04,1.812,0.092), (1.76,0.04,1.812,0.092), (1.76,0.04,1.812,0.092), (1.76,0.04,1.812,0.74), (2.322,0.04,2.374,0.092), (2.322,0.04,2.374,0.092), (2.322,0.04,2.374,0.092), (2.322,0.04,2.374,0.092), (2.322,0.04,2.374,0.928), (2.914,0.04,2.966,0.092), (2.914,0.04,2.966,0.092), (2.914,0.04,2.966,0.896), (4.154,0.04,4.206,0.092), (4.154,0.04,4.206,0.092), (4.154,0.04,4.206,0.092), (4.154,0.04,4.206,0.092), (4.154,0.04,4.206,0.092), (4.154,0.04,4.206,0.092), (4.154,0.04,4.206,0.092), (4.154,0.04,4.206,0.092), (4.154,0.04,4.206,0.604), (4.522,0.04,4.574,0.092), (4.522,0.04,4.574,0.092), (4.522,0.04,4.574,0.092), (4.522,0.04,4.574,0.092), (4.522,0.04,4.574,0.092), (4.522,0.04,4.574,0.092), (4.522,0.04,4.574,0.092), (4.522,0.04,4.574,0.092), (4.522,0.04,4.574,0.092), (4.522,0.04,4.574,0.092), (4.522,0.04,4.574,0.092), (4.522,0.04,4.574,0.092), (4.522,0.04,4.574,0.708), (4.154,0.552,4.206,0.772), (4.522,0.656,4.63,0.82), (1.76,0.688,1.812,0.796), (0.064,0.732,0.116,0.952), (0.488,0.732,0.54,0.784), (0.488,0.732,0.54,0.784), (0.488,0.732,0.54,0.952), (2.858,0.844,2.966,1.008), (2.914,0.844,2.966,0.896), (2.914,0.844,2.966,0.896), (2.914,0.844,2.966,0.896), (2.914,0.844,2.966,0.896), (2.914,0.844,2.966,0.896), (2.914,0.844,2.966,0.896), (3.31,0.844,3.418,1.008), (2.322,0.876,2.374,0.928), (2.322,0.876,2.374,0.928), (2.322,0.876,2.374,0.928), (2.322,0.876,2.374,0.928), (2.322,0.876,2.374,0.928), (2.322,0.876,2.374,0.928), (2.322,0.876,2.374,0.928), (2.322,0.876,2.374,0.928), (2.322,0.876,2.43,0.928), (1.18,0.932,1.232,1.04), (3.364,0.956,3.416,1.008), (3.364,0.956,3.416,1.008), (3.364,0.956,3.416,1.008), (3.364,0.956,3.416,1.008), (3.364,0.956,3.416,1.428), (2.68,1.03,2.746,1.174), (2.806,1.066,2.906,1.174), (2.97,1.066,3.066,1.174), (3.814,1.066,3.866,1.19), (4.614,1.066,4.676,1.176), (3.814,1.094,3.866,1.146), (4.614,1.094,4.666,1.146), (2.544,1.122,2.596,1.174), (2.544,1.122,2.596,1.274), (2.544,1.122,2.732,1.174), (3.014,1.122,3.066,1.174), (3.014,1.122,3.066,1.174), (3.014,1.122,3.176,1.174), (3.124,1.122,3.176,1.174), (3.124,1.122,3.242,1.174), (3.19,1.122,3.242,1.174), (3.19,1.122,3.242,1.188), (3.19,1.136,3.242,1.188), (3.19,1.136,3.306,1.188), (3.254,1.136,3.306,1.244), (4.294,1.21,4.346,1.334), (0.126,1.222,0.186,1.334), (0.354,1.222,0.506,1.334), (2.054,1.222,2.114,1.334), (2.206,1.222,2.266,1.334), (2.422,1.222,2.474,1.33), (2.422,1.222,2.596,1.274), (2.544,1.222,2.596,1.274), (2.544,1.222,2.596,1.274), (2.544,1.222,2.596,1.274), (1.094,1.224,1.156,1.334), (0.572,1.226,0.666,1.334), (0.774,1.226,0.876,1.334), (0.134,1.254,0.186,1.306), (1.094,1.254,1.146,1.306), (2.054,1.254,2.106,1.306), (2.214,1.254,2.266,1.306), (4.294,1.254,4.346,1.306), (3.01,1.376,3.118,1.54), (3.066,1.376,3.176,1.428), (3.124,1.376,3.176,1.428), (3.124,1.376,3.228,1.428), (3.176,1.376,3.228,1.428), (3.176,1.376,3.286,1.428), (3.234,1.376,3.286,1.428), (3.234,1.376,3.362,1.428), (3.31,1.376,3.418,1.428), (3.364,1.376,3.416,1.428), (3.364,1.376,3.416,1.428), (3.854,1.386,3.962,1.55), (3.91,1.392,4.044,1.444), (3.992,1.392,4.044,1.444), (3.992,1.392,4.154,1.444), (4.102,1.392,4.154,1.444), (4.102,1.392,4.154,1.444), (4.102,1.392,4.154,1.444), (4.102,1.392,4.308,1.444), (4.256,1.392,4.308,1.444), (4.256,1.392,4.308,1.472), (3.014,1.414,3.066,1.466), (4.256,1.42,4.308,1.64), (3.61,1.43,3.662,1.538), (3.61,1.442,3.662,1.494), (3.61,1.442,3.662,1.494), (3.61,1.442,3.906,1.494), (3.854,1.442,3.906,1.494), (3.854,1.442,3.906,1.494), (3.19,1.486,3.242,1.594), (3.19,1.486,3.286,1.538), (3.234,1.486,3.286,1.538), (3.234,1.486,3.404,1.538), (3.352,1.486,3.404,1.538), (3.352,1.486,3.516,1.538), (3.464,1.486,3.516,1.538), (3.464,1.486,3.516,1.538), (3.464,1.486,3.516,1.538), (3.464,1.486,3.662,1.538), (0.036,1.578,0.144,1.742), (0.078,1.578,0.13,1.63), (0.078,1.578,0.13,1.63), (0.078,1.578,0.13,1.63), (0.078,1.578,0.13,1.63), (0.078,1.578,0.306,1.63), (0.254,1.578,0.306,1.63), (0.254,1.578,0.416,1.63), (0.364,1.578,0.416,1.63), (0.364,1.578,0.416,1.63), (0.364,1.578,0.416,1.686), (4.256,1.588,4.308,1.64), (4.256,1.588,4.308,1.64), (4.256,1.588,4.308,1.64), (4.256,1.588,4.308,1.64), (4.256,1.588,4.308,1.64), (4.256,1.588,4.308,1.64), (4.256,1.588,4.308,1.64), (4.256,1.588,4.308,1.64), (4.256,1.588,4.308,1.64), (4.256,1.588,4.308,1.64), (4.256,1.588,4.308,1.64), (4.256,1.588,4.308,1.64), (4.256,1.588,4.308,1.64), (4.256,1.588,4.308,1.64), (4.256,1.588,4.308,1.64), (4.256,1.588,4.308,1.64), (4.256,1.588,4.308,1.64), (4.256,1.588,4.308,1.64), (4.256,1.588,4.308,2.52), (4.256,1.588,4.554,1.64), (4.502,1.588,4.554,1.64), (4.502,1.588,4.554,1.64), (4.502,1.588,4.61,1.64), (0.036,1.69,0.088,1.742), (0.036,1.69,0.088,1.742), (0.036,1.69,0.088,1.742), (0.036,1.69,0.088,1.742), (0.036,1.69,0.088,1.742), (0.036,1.69,0.088,1.742), (0.036,1.69,0.088,1.742), (0.036,1.69,0.088,1.742), (0.036,1.69,0.088,1.742), (0.036,1.69,0.088,1.742), (0.036,1.69,0.088,1.742), (0.036,1.69,0.088,1.742), (0.036,1.69,0.088,1.742), (0.036,1.69,0.088,1.742), (0.036,1.69,0.088,2.52), (3.494,1.706,3.578,1.814), (3.494,1.734,3.546,1.786), (1.944,1.774,1.996,1.826), (1.944,1.774,1.996,1.826), (1.944,1.774,1.996,1.826), (1.944,1.774,1.996,1.826), (1.944,1.774,1.996,1.826), (1.944,1.774,1.996,1.826), (1.944,1.774,1.996,1.826), (1.944,1.774,1.996,1.826), (1.944,1.774,1.996,1.826), (1.944,1.774,1.996,1.826), (1.944,1.774,2.106,1.826), (1.944,1.774,1.996,1.882), (1.944,1.774,1.996,2.52), (2.054,1.774,2.106,1.826), (2.054,1.774,2.106,1.826), (2.054,1.774,2.106,1.826), (2.054,1.774,2.318,1.826), (2.266,1.774,2.318,1.826), (2.266,1.774,2.318,1.826), (2.266,1.774,2.374,1.826), (2.87,1.774,2.922,1.882), (2.87,1.83,2.922,2.52), (0.908,1.952,0.96,2.172), (1.286,1.994,1.394,2.046), (1.286,1.994,1.338,2.52), (2.682,2.026,2.746,2.134), (2.694,2.054,2.746,2.106), (0.636,2.066,0.688,2.174), (2.654,2.076,2.706,2.184), (2.654,2.076,2.734,2.128), (0.908,2.12,0.96,2.172), (0.908,2.12,0.96,2.172), (0.908,2.12,0.96,2.52), (0.636,2.122,0.688,2.52), (0,2.468,4.8,2.56), (0.036,2.468,0.088,2.52), (0.036,2.468,0.088,2.52), (0.636,2.468,0.688,2.52), (0.636,2.468,0.688,2.52), (0.636,2.468,0.688,2.52), (0.636,2.468,0.688,2.52), (0.636,2.468,0.688,2.52), (0.636,2.468,0.688,2.52), (0.636,2.468,0.688,2.52), (0.636,2.468,0.688,2.52), (0.908,2.468,0.96,2.52), (0.908,2.468,0.96,2.52), (0.908,2.468,0.96,2.52), (0.908,2.468,0.96,2.52), (0.908,2.468,0.96,2.52), (0.908,2.468,0.96,2.52), (1.286,2.468,1.338,2.52), (1.286,2.468,1.338,2.52), (1.286,2.468,1.338,2.52), (1.286,2.468,1.338,2.52), (1.286,2.468,1.338,2.52), (1.286,2.468,1.338,2.52), (1.286,2.468,1.338,2.52), (1.286,2.468,1.338,2.52), (2.87,2.468,2.922,2.52), (2.87,2.468,2.922,2.52), (2.87,2.468,2.922,2.52), (2.87,2.468,2.922,2.52), (2.87,2.468,2.922,2.52), (2.87,2.468,2.922,2.52), (2.87,2.468,2.922,2.52), (2.87,2.468,2.922,2.52)])
R(complex24, boundary, [(0,0,4.8,2.56)])
complex24.add(gdstk.Label('CL1#A', (0.16,1.28), layer=11, texttype=0))
complex24.add(gdstk.Label('CL1#B', (0.48,1.28), layer=11, texttype=0))
complex24.add(gdstk.Label('CL2#A', (0.64,1.28), layer=11, texttype=0))
complex24.add(gdstk.Label('CL2#B', (0.8,1.28), layer=11, texttype=0))
complex24.add(gdstk.Label('CL2#C', (1.12,1.28), layer=11, texttype=0))
complex24.add(gdstk.Label('CL3#A', (2.24,1.28), layer=11, texttype=0))
complex24.add(gdstk.Label('CL3#B', (2.08,1.28), layer=11, texttype=0))
complex24.add(gdstk.Label('CL4#A', (2.88,1.12), layer=11, texttype=0))
complex24.add(gdstk.Label('CL4#B', (2.72,1.12), layer=11, texttype=0))
complex24.add(gdstk.Label('CL4#C', (2.72,2.08), layer=11, texttype=0))
complex24.add(gdstk.Label('CL5#A', (3.04,1.12), layer=11, texttype=0))
complex24.add(gdstk.Label('CL5#Y', (3.04,1.44), layer=11, texttype=0))
complex24.add(gdstk.Label('CL6#B', (3.52,1.76), layer=11, texttype=0))
complex24.add(gdstk.Label('CL6#C', (3.84,1.12), layer=11, texttype=0))
complex24.add(gdstk.Label('CL7#A', (4.64,1.12), layer=11, texttype=0))
complex24.add(gdstk.Label('CL7#B', (4.32,1.28), layer=11, texttype=0))

lib.write_gds('COMPLEX24.gds')
